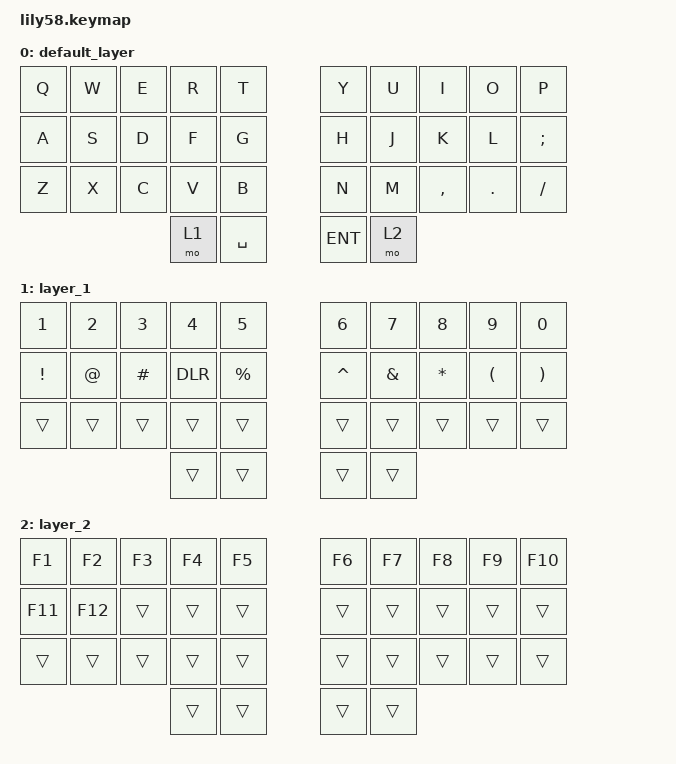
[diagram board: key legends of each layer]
#include <behaviors.dtsi>
#include <dt-bindings/zmk/keys.h>

/ {
    keymap {
        compatible = "zmk,keymap";

        default_layer {
            bindings = <
                &kp Q  &kp W  &kp E  &kp R  &kp T     &kp Y  &kp U  &kp I  &kp O  &kp P
                &kp A  &kp S  &kp D  &kp F  &kp G     &kp H  &kp J  &kp K  &kp L  &kp SEMI
                &kp Z  &kp X  &kp C  &kp V  &kp B     &kp N  &kp M  &kp COMMA &kp DOT &kp SLASH
                               &mo 1   &kp SPC     &kp ENT  &mo 2
            >;
        };

        layer_1 {
            bindings = <
                &kp N1 &kp N2 &kp N3 &kp N4 &kp N5     &kp N6 &kp N7 &kp N8 &kp N9 &kp N0
                &kp EXCL &kp AT &kp HASH &kp DLR &kp PERCENT   &kp CARET &kp AMPS &kp ASTRK &kp LPAR &kp RPAR
                &trans &trans &trans &trans &trans     &trans &trans &trans &trans &trans
                               &trans &trans     &trans &trans
            >;
        };

        layer_2 {
            bindings = <
                &kp F1 &kp F2 &kp F3 &kp F4 &kp F5     &kp F6 &kp F7 &kp F8 &kp F9 &kp F10
                &kp F11 &kp F12 &trans &trans &trans    &trans &trans &trans &trans &trans
                &trans &trans &trans &trans &trans      &trans &trans &trans &trans &trans
                               &trans &trans     &trans &trans
            >;
        };
    };
};
